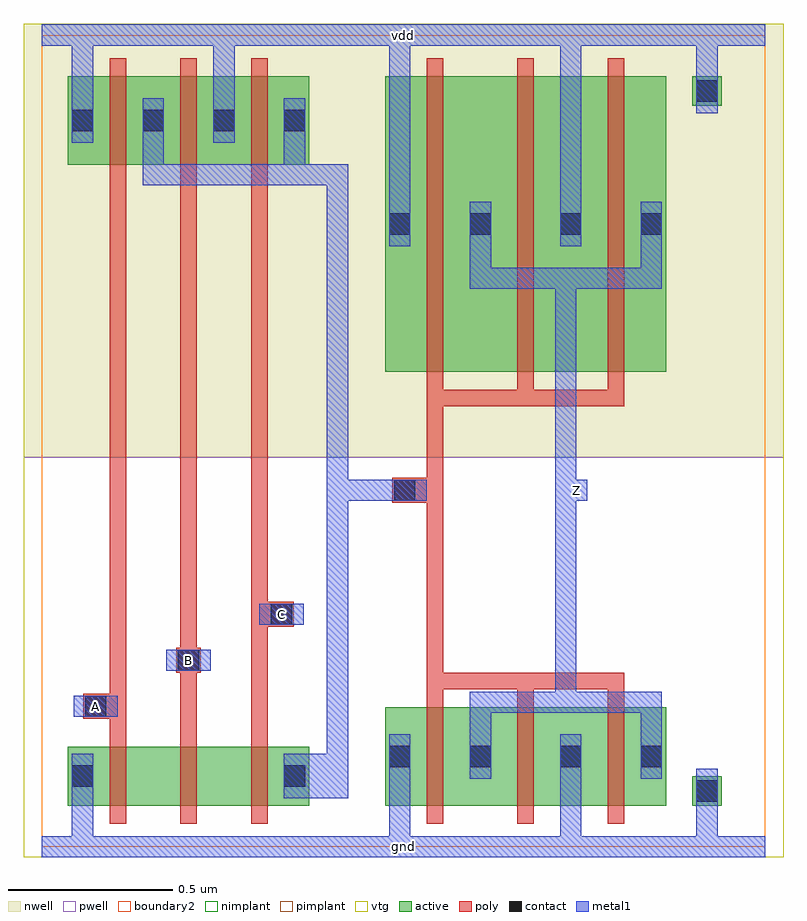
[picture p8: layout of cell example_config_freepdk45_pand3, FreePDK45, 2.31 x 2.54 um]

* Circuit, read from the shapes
.subckt example_config_freepdk45_pand3 A B C Z gnd vdd
M1 example_config_freepdk45_pnand3_0_0/example_config_freepdk45_nmos_m1_w0_180_sm1_dactive_3/D A gnd gnd nfet w=0.18u l=0.05u
M2 example_config_freepdk45_pnand3_0_0/example_config_freepdk45_nmos_m1_w0_180_sactive_dactive_4/D B example_config_freepdk45_pnand3_0_0/example_config_freepdk45_nmos_m1_w0_180_sm1_dactive_3/D gnd nfet w=0.18u l=0.05u
M3 example_config_freepdk45_pdriver_2_1/A C example_config_freepdk45_pnand3_0_0/example_config_freepdk45_nmos_m1_w0_180_sactive_dactive_4/D gnd nfet w=0.18u l=0.05u
M4 Z example_config_freepdk45_pdriver_2_1/A gnd gnd nfet w=0.3u l=0.05u m=3
M5 example_config_freepdk45_pdriver_2_1/A A vdd vdd pfet w=0.27u l=0.05u
M6 vdd B example_config_freepdk45_pdriver_2_1/A vdd pfet w=0.27u l=0.05u
M7 example_config_freepdk45_pdriver_2_1/A C vdd vdd pfet w=0.27u l=0.05u
M8 Z example_config_freepdk45_pdriver_2_1/A vdd vdd pfet w=0.9u l=0.05u m=3
.ends

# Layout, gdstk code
import gdstk
lib = gdstk.Library(unit=1e-6, precision=5e-10)
def R(c, l, rs):  # rectangles x0, y0, x1, y1
    for r in rs: c.add(gdstk.rectangle(r[:2], r[2:], *l))
def A(c, l, x, y, w, h, nx, ny, dx, dy):  # array of equal rectangles
    R(c, l, [(x+i*dx, y+j*dy, x+i*dx+w, y+j*dy+h) for i in range(nx) for j in range(ny)])
active = (1, 0)
pwell = (2, 0)
nwell = (3, 0)
nimplant = (4, 0)
pimplant = (5, 0)
vtg = (6, 0)
poly = (9, 0)
contact = (10, 0)
metal1 = (11, 0)
boundary2 = (239, 0)

example_config_freepdk45 = lib.new_cell('example_config_freepdk45_contact_11')
R(example_config_freepdk45, active, [(0,0.0225,0.09,0.1125)])
R(example_config_freepdk45, nwell, [(-0.055,-0.0325,0.145,0.1675)])
R(example_config_freepdk45, pimplant, [(0,0.0225,0.09,0.1125)])
R(example_config_freepdk45, contact, [(0.0125,0.035,0.0775,0.1)])
R(example_config_freepdk45, metal1, [(0.0125,0,0.0775,0.135)])
R(example_config_freepdk45, boundary2, [(-0.055,-0.0325,0.145,0.1675)])

c_example_config_freepdk45 = lib.new_cell('example_config_freepdk45_pmos_m1_w0_270_sm1_dm1')
R(c_example_config_freepdk45, active, [(0,0,0.305,0.27)])
R(c_example_config_freepdk45, nwell, [(-0.08,-0.08,0.385,0.35)])
R(c_example_config_freepdk45, pimplant, [(0,0,0.305,0.27)])
R(c_example_config_freepdk45, vtg, [(-0.08,-0.08,0.385,0.35)])
R(c_example_config_freepdk45, poly, [(0.1275,-0.055,0.1775,0.325), (0.1275,-0.055,0.1775,0.325)])
R(c_example_config_freepdk45, metal1, [(0.0125,0.0675,0.0775,0.2025), (0.2275,0.0675,0.2925,0.2025)])
R(c_example_config_freepdk45, boundary2, [(-0.08,-0.08,0.385,0.35)])
c_example_config_freepdk45.add(gdstk.Reference(example_config_freepdk45, (0,0.0675)))
c_example_config_freepdk45.add(gdstk.Reference(example_config_freepdk45, (0.215,0.0675)))
c_example_config_freepdk45.add(gdstk.Label('G', (0.1525,0.135), layer=9, texttype=0))
c_example_config_freepdk45.add(gdstk.Label('S', (0.045,0.135), layer=11, texttype=0))
c_example_config_freepdk45.add(gdstk.Label('D', (0.26,0.135), layer=11, texttype=0))

c_example_config_freepdk45_ = lib.new_cell('example_config_freepdk45_contact_10')
R(c_example_config_freepdk45_, active, [(0,0.0225,0.09,0.1125)])
R(c_example_config_freepdk45_, pwell, [(-0.055,-0.0325,0.145,0.1675)])
R(c_example_config_freepdk45_, nimplant, [(0,0.0225,0.09,0.1125)])
R(c_example_config_freepdk45_, contact, [(0.0125,0.035,0.0775,0.1)])
R(c_example_config_freepdk45_, metal1, [(0.0125,0,0.0775,0.135)])
R(c_example_config_freepdk45_, boundary2, [(-0.055,-0.0325,0.145,0.1675)])

c_example_config_freepdk45__ = lib.new_cell('example_config_freepdk45_nmos_m1_w0_180_sm1_dactive')
R(c_example_config_freepdk45__, active, [(0,0,0.305,0.18), (0.215,0.045,0.305,0.135)])
R(c_example_config_freepdk45__, pwell, [(-0.08,-0.08,0.385,0.26)])
R(c_example_config_freepdk45__, nimplant, [(0,0,0.305,0.18)])
R(c_example_config_freepdk45__, vtg, [(-0.08,-0.08,0.385,0.26)])
R(c_example_config_freepdk45__, poly, [(0.1275,-0.055,0.1775,0.235), (0.1275,-0.055,0.1775,0.235)])
R(c_example_config_freepdk45__, metal1, [(0.0125,0.0225,0.0775,0.1575)])
R(c_example_config_freepdk45__, boundary2, [(-0.08,-0.08,0.385,0.26)])
c_example_config_freepdk45__.add(gdstk.Reference(c_example_config_freepdk45_, (0,0.0225)))
c_example_config_freepdk45__.add(gdstk.Label('G', (0.1525,0.09), layer=9, texttype=0))
c_example_config_freepdk45__.add(gdstk.Label('S', (0.045,0.09), layer=11, texttype=0))
c_example_config_freepdk45__.add(gdstk.Label('D', (0.26,0.09), layer=1, texttype=0))

c_example_config_freepdk45___ = lib.new_cell('example_config_freepdk45_nmos_m1_w0_180_sactive_dactive')
R(c_example_config_freepdk45___, active, [(0,0,0.305,0.18), (0,0.045,0.09,0.135), (0.215,0.045,0.305,0.135)])
R(c_example_config_freepdk45___, pwell, [(-0.08,-0.08,0.385,0.26)])
R(c_example_config_freepdk45___, nimplant, [(0,0,0.305,0.18)])
R(c_example_config_freepdk45___, vtg, [(-0.08,-0.08,0.385,0.26)])
R(c_example_config_freepdk45___, poly, [(0.1275,-0.055,0.1775,0.235), (0.1275,-0.055,0.1775,0.235)])
R(c_example_config_freepdk45___, boundary2, [(-0.08,-0.08,0.385,0.26)])
c_example_config_freepdk45___.add(gdstk.Label('G', (0.1525,0.09), layer=9, texttype=0))
c_example_config_freepdk45___.add(gdstk.Label('S', (0.045,0.09), layer=1, texttype=0))
c_example_config_freepdk45___.add(gdstk.Label('D', (0.26,0.09), layer=1, texttype=0))

c_example_config_freepdk45____ = lib.new_cell('example_config_freepdk45_nmos_m1_w0_180_sactive_dm1')
R(c_example_config_freepdk45____, active, [(0,0,0.305,0.18), (0,0.045,0.09,0.135)])
R(c_example_config_freepdk45____, pwell, [(-0.08,-0.08,0.385,0.26)])
R(c_example_config_freepdk45____, nimplant, [(0,0,0.305,0.18)])
R(c_example_config_freepdk45____, vtg, [(-0.08,-0.08,0.385,0.26)])
R(c_example_config_freepdk45____, poly, [(0.1275,-0.055,0.1775,0.235), (0.1275,-0.055,0.1775,0.235)])
R(c_example_config_freepdk45____, metal1, [(0.2275,0.0225,0.2925,0.1575)])
R(c_example_config_freepdk45____, boundary2, [(-0.08,-0.08,0.385,0.26)])
c_example_config_freepdk45____.add(gdstk.Reference(c_example_config_freepdk45_, (0.215,0.0225)))
c_example_config_freepdk45____.add(gdstk.Label('G', (0.1525,0.09), layer=9, texttype=0))
c_example_config_freepdk45____.add(gdstk.Label('S', (0.045,0.09), layer=1, texttype=0))
c_example_config_freepdk45____.add(gdstk.Label('D', (0.26,0.09), layer=11, texttype=0))

c_example_config_freepdk45_____ = lib.new_cell('example_config_freepdk45_contact_14')
R(c_example_config_freepdk45_____, poly, [(0.03,0,0.105,0.075)])
R(c_example_config_freepdk45_____, contact, [(0.035,0.005,0.1,0.07)])
R(c_example_config_freepdk45_____, metal1, [(0,0.005,0.135,0.07)])
R(c_example_config_freepdk45_____, boundary2, [(0,0,0.135,0.075)])

c_example_config_freepdk45______ = lib.new_cell('example_config_freepdk45_pnand3_0')
R(c_example_config_freepdk45______, pwell, [(-0.055,-0.0325,1.02,1.185)])
R(c_example_config_freepdk45______, nwell, [(-0.055,1.185,1.02,2.505)])
R(c_example_config_freepdk45______, vtg, [(-0.055,-0.0325,1.02,1.185), (-0.055,1.185,1.02,2.505)])
A(c_example_config_freepdk45______, poly, 0.2075, 0.36, 0.05, 1.66, 3, 1, 0.215, 0)
R(c_example_config_freepdk45______, poly, [(0.165,0.39,0.2075,0.465), (0.4225,0.53,0.4475,0.605), (0.6375,0.67,0.73,0.745)])
R(c_example_config_freepdk45______, metal1, [(0,-0.0325,0.965,0.0325), (0.0925,-0.0325,0.1575,0.1475), (0.77,0.1475,0.9,0.2825), (0.8675,0.1475,0.9325,2.045), (0.0975,0.395,0.2325,0.46), (0.38,0.535,0.515,0.6), (0.6625,0.675,0.7975,0.74), (0.3075,2.0125,0.3725,2.0775), (0.34,2.0125,0.9,2.0775), (0.7375,2.0125,0.8025,2.0775), (0.77,2.0125,0.9,2.0775), (0.8675,2.0125,0.9325,2.0775), (0.3075,2.045,0.3725,2.21), (0.7375,2.045,0.8025,2.21), (0.0925,2.1425,0.1575,2.5025), (0.5225,2.1425,0.5875,2.5025), (0,2.4375,0.965,2.5025)])
R(c_example_config_freepdk45______, boundary2, [(0,0,0.965,2.47), (0,0,0.965,2.47)])
c_example_config_freepdk45______.add(gdstk.Reference(c_example_config_freepdk45, (0.08,2.075)))
c_example_config_freepdk45______.add(gdstk.Reference(c_example_config_freepdk45, (0.295,2.075)))
c_example_config_freepdk45______.add(gdstk.Reference(c_example_config_freepdk45, (0.51,2.075)))
c_example_config_freepdk45______.add(gdstk.Reference(c_example_config_freepdk45__, (0.08,0.125)))
c_example_config_freepdk45______.add(gdstk.Reference(c_example_config_freepdk45___, (0.295,0.125)))
c_example_config_freepdk45______.add(gdstk.Reference(c_example_config_freepdk45____, (0.51,0.125)))
c_example_config_freepdk45______.add(gdstk.Reference(c_example_config_freepdk45_____, (0.0975,0.39)))
c_example_config_freepdk45______.add(gdstk.Reference(c_example_config_freepdk45_____, (0.38,0.53)))
c_example_config_freepdk45______.add(gdstk.Reference(c_example_config_freepdk45_____, (0.6625,0.67)))
c_example_config_freepdk45______.add(gdstk.Label('A', (0.165,0.4275), layer=11, texttype=0))
c_example_config_freepdk45______.add(gdstk.Label('B', (0.4475,0.5675), layer=11, texttype=0))
c_example_config_freepdk45______.add(gdstk.Label('C', (0.73,0.7075), layer=11, texttype=0))
c_example_config_freepdk45______.add(gdstk.Label('Z', (0.9,2.045), layer=11, texttype=0))
c_example_config_freepdk45______.add(gdstk.Label('gnd', (0.4825,0), layer=11, texttype=0))
c_example_config_freepdk45______.add(gdstk.Label('vdd', (0.4825,2.47), layer=11, texttype=0))

c_example_config_freepdk45_______ = lib.new_cell('example_config_freepdk45_pmos_m3_w0_900_sm1_dm1_da_p')
R(c_example_config_freepdk45_______, active, [(0,0,0.855,0.9)])
R(c_example_config_freepdk45_______, nwell, [(-0.08,-0.08,0.935,0.98)])
R(c_example_config_freepdk45_______, pimplant, [(0,0,0.855,0.9)])
R(c_example_config_freepdk45_______, vtg, [(-0.08,-0.08,0.935,0.98)])
A(c_example_config_freepdk45_______, poly, 0.1275, -0.055, 0.05, 1.01, 3, 1, 0.275, 0)
R(c_example_config_freepdk45_______, poly, [(0.1275,-0.105,0.7275,-0.055)])
R(c_example_config_freepdk45_______, metal1, [(0.2575,0.2525,0.8425,0.3175), (0.2575,0.285,0.3225,0.45), (0.7775,0.285,0.8425,0.45), (0.0125,0.3825,0.0775,0.5175), (0.5325,0.3825,0.5975,0.5175)])
R(c_example_config_freepdk45_______, boundary2, [(-0.08,-0.105,0.935,0.98)])
c_example_config_freepdk45_______.add(gdstk.Reference(example_config_freepdk45, (0,0.3825)))
c_example_config_freepdk45_______.add(gdstk.Reference(example_config_freepdk45, (0.245,0.3825)))
c_example_config_freepdk45_______.add(gdstk.Reference(example_config_freepdk45, (0.52,0.3825)))
c_example_config_freepdk45_______.add(gdstk.Reference(example_config_freepdk45, (0.765,0.3825)))
c_example_config_freepdk45_______.add(gdstk.Label('G', (0.4275,-0.08), layer=9, texttype=0))
c_example_config_freepdk45_______.add(gdstk.Label('S', (0.045,0.45), layer=11, texttype=0))
c_example_config_freepdk45_______.add(gdstk.Label('S', (0.565,0.45), layer=11, texttype=0))
c_example_config_freepdk45_______.add(gdstk.Label('D', (0.55,0.285), layer=11, texttype=0))

c_example_config_freepdk45________ = lib.new_cell('example_config_freepdk45_nmos_m3_w0_300_sm1_dm1_da_p')
R(c_example_config_freepdk45________, active, [(0,0,0.855,0.3)])
R(c_example_config_freepdk45________, pwell, [(-0.08,-0.08,0.935,0.38)])
R(c_example_config_freepdk45________, nimplant, [(0,0,0.855,0.3)])
R(c_example_config_freepdk45________, vtg, [(-0.08,-0.08,0.935,0.38)])
A(c_example_config_freepdk45________, poly, 0.1275, -0.055, 0.05, 0.41, 3, 1, 0.275, 0)
R(c_example_config_freepdk45________, poly, [(0.1275,0.355,0.7275,0.405)])
R(c_example_config_freepdk45________, metal1, [(0.0125,0.0825,0.0775,0.2175), (0.5325,0.0825,0.5975,0.2175), (0.2575,0.15,0.3225,0.315), (0.7775,0.15,0.8425,0.315), (0.2575,0.2825,0.8425,0.3475)])
R(c_example_config_freepdk45________, boundary2, [(-0.08,-0.08,0.935,0.405)])
c_example_config_freepdk45________.add(gdstk.Reference(c_example_config_freepdk45_, (0,0.0825)))
c_example_config_freepdk45________.add(gdstk.Reference(c_example_config_freepdk45_, (0.245,0.0825)))
c_example_config_freepdk45________.add(gdstk.Reference(c_example_config_freepdk45_, (0.52,0.0825)))
c_example_config_freepdk45________.add(gdstk.Reference(c_example_config_freepdk45_, (0.765,0.0825)))
c_example_config_freepdk45________.add(gdstk.Label('G', (0.4275,0.38), layer=9, texttype=0))
c_example_config_freepdk45________.add(gdstk.Label('S', (0.565,0.15), layer=11, texttype=0))
c_example_config_freepdk45________.add(gdstk.Label('S', (0.045,0.15), layer=11, texttype=0))
c_example_config_freepdk45________.add(gdstk.Label('D', (0.55,0.315), layer=11, texttype=0))

c_example_config_freepdk45_________ = lib.new_cell('example_config_freepdk45_contact_12')
R(c_example_config_freepdk45_________, active, [(0,0.0225,0.09,0.1125)])
R(c_example_config_freepdk45_________, nwell, [(-0.055,-0.0325,0.145,0.1675)])
R(c_example_config_freepdk45_________, nimplant, [(0,0.0225,0.09,0.1125)])
R(c_example_config_freepdk45_________, contact, [(0.0125,0.035,0.0775,0.1)])
R(c_example_config_freepdk45_________, metal1, [(0.0125,0,0.0775,0.135)])
R(c_example_config_freepdk45_________, boundary2, [(-0.055,-0.0325,0.145,0.1675)])

c_example_config_freepdk45__________ = lib.new_cell('example_config_freepdk45_contact_13')
R(c_example_config_freepdk45__________, active, [(0,0.0225,0.09,0.1125)])
R(c_example_config_freepdk45__________, pwell, [(-0.055,-0.0325,0.145,0.1675)])
R(c_example_config_freepdk45__________, pimplant, [(0,0.0225,0.09,0.1125)])
R(c_example_config_freepdk45__________, contact, [(0.0125,0.035,0.0775,0.1)])
R(c_example_config_freepdk45__________, metal1, [(0.0125,0,0.0775,0.135)])
R(c_example_config_freepdk45__________, boundary2, [(-0.055,-0.0325,0.145,0.1675)])

c_example_config_freepdk45___________ = lib.new_cell('example_config_freepdk45_pinv_9')
R(c_example_config_freepdk45___________, pwell, [(-0.055,-0.0325,1.2925,1.185)])
R(c_example_config_freepdk45___________, nwell, [(-0.055,1.185,1.2925,2.505)])
R(c_example_config_freepdk45___________, vtg, [(-0.055,-0.0325,1.2925,1.185), (-0.055,1.185,1.2925,2.505)])
R(c_example_config_freepdk45___________, poly, [(0.2075,0.53,0.2575,1.34), (0.14,1.0475,0.2075,1.1225)])
R(c_example_config_freepdk45___________, metal1, [(0,-0.0325,1.2375,0.0325), (0.0925,-0.0325,0.1575,0.2075), (0.6125,-0.0325,0.6775,0.2075), (1.0275,0,1.0925,0.17), (0.5975,0.4075,0.6625,1.7625), (0.0725,1.0525,0.2075,1.1175), (0.63,1.0525,0.695,1.1175), (0.0925,1.8275,0.1575,2.5025), (0.6125,1.8275,0.6775,2.5025), (1.0275,2.3,1.0925,2.47), (0,2.4375,1.2375,2.5025)])
R(c_example_config_freepdk45___________, boundary2, [(0,0,1.2375,2.47), (0,0,1.2375,2.47)])
c_example_config_freepdk45___________.add(gdstk.Reference(c_example_config_freepdk45_______, (0.08,1.445)))
c_example_config_freepdk45___________.add(gdstk.Reference(c_example_config_freepdk45________, (0.08,0.125)))
c_example_config_freepdk45___________.add(gdstk.Reference(c_example_config_freepdk45_________, (1.015,2.2325)))
c_example_config_freepdk45___________.add(gdstk.Reference(c_example_config_freepdk45__________, (1.015,0.1025)))
c_example_config_freepdk45___________.add(gdstk.Reference(c_example_config_freepdk45_____, (0.0725,1.0475)))
c_example_config_freepdk45___________.add(gdstk.Label('A', (0.14,1.085), layer=11, texttype=0))
c_example_config_freepdk45___________.add(gdstk.Label('Z', (0.6625,1.085), layer=11, texttype=0))
c_example_config_freepdk45___________.add(gdstk.Label('gnd', (0.619,0), layer=11, texttype=0))
c_example_config_freepdk45___________.add(gdstk.Label('vdd', (0.619,2.47), layer=11, texttype=0))

c_example_config_freepdk45____________ = lib.new_cell('example_config_freepdk45_pdriver_2')
R(c_example_config_freepdk45____________, pwell, [(-0.055,-0.0325,1.2925,1.185)])
R(c_example_config_freepdk45____________, nwell, [(-0.055,1.185,1.2925,2.505)])
R(c_example_config_freepdk45____________, vtg, [(-0.055,-0.0325,1.2925,1.185), (-0.055,1.185,1.2925,2.505)])
R(c_example_config_freepdk45____________, metal1, [(0,-0.0325,1.2375,0.0325), (0.0725,1.0525,0.2075,1.1175), (0.63,1.0525,0.695,1.1175), (0,2.4375,1.2375,2.5025)])
R(c_example_config_freepdk45____________, boundary2, [(0,0,1.2375,2.47), (0,0,1.2375,2.47)])
c_example_config_freepdk45____________.add(gdstk.Reference(c_example_config_freepdk45___________, (0,0)))
c_example_config_freepdk45____________.add(gdstk.Label('Z', (0.6625,1.085), layer=11, texttype=0))
c_example_config_freepdk45____________.add(gdstk.Label('A', (0.14,1.085), layer=11, texttype=0))
c_example_config_freepdk45____________.add(gdstk.Label('gnd', (0.619,0), layer=11, texttype=0))
c_example_config_freepdk45____________.add(gdstk.Label('vdd', (0.619,2.47), layer=11, texttype=0))

c_example_config_freepdk45_____________ = lib.new_cell('example_config_freepdk45_pand3')
R(c_example_config_freepdk45_____________, metal1, [(0,-0.0325,2.2025,0.0325), (0.0975,0.395,0.2325,0.46), (0.38,0.535,0.515,0.6), (0.6625,0.675,0.7975,0.74), (0.8675,1.0525,0.9325,1.1175), (0.9,1.0525,1.105,1.1175), (1.595,1.0525,1.66,1.1175), (0.8675,1.085,0.9325,2.045), (0,2.4375,2.2025,2.5025)])
R(c_example_config_freepdk45_____________, boundary2, [(0,0,2.2025,2.47), (0,0,2.2025,2.47)])
c_example_config_freepdk45_____________.add(gdstk.Reference(c_example_config_freepdk45______, (0,0)))
c_example_config_freepdk45_____________.add(gdstk.Reference(c_example_config_freepdk45____________, (0.965,0)))
c_example_config_freepdk45_____________.add(gdstk.Label('Z', (1.6275,1.085), layer=11, texttype=0))
c_example_config_freepdk45_____________.add(gdstk.Label('A', (0.165,0.4275), layer=11, texttype=0))
c_example_config_freepdk45_____________.add(gdstk.Label('B', (0.4475,0.5675), layer=11, texttype=0))
c_example_config_freepdk45_____________.add(gdstk.Label('C', (0.73,0.7075), layer=11, texttype=0))
c_example_config_freepdk45_____________.add(gdstk.Label('gnd', (1.101,0), layer=11, texttype=0))
c_example_config_freepdk45_____________.add(gdstk.Label('vdd', (1.101,2.47), layer=11, texttype=0))

lib.write_gds('example_config_freepdk45_pand3.gds')
